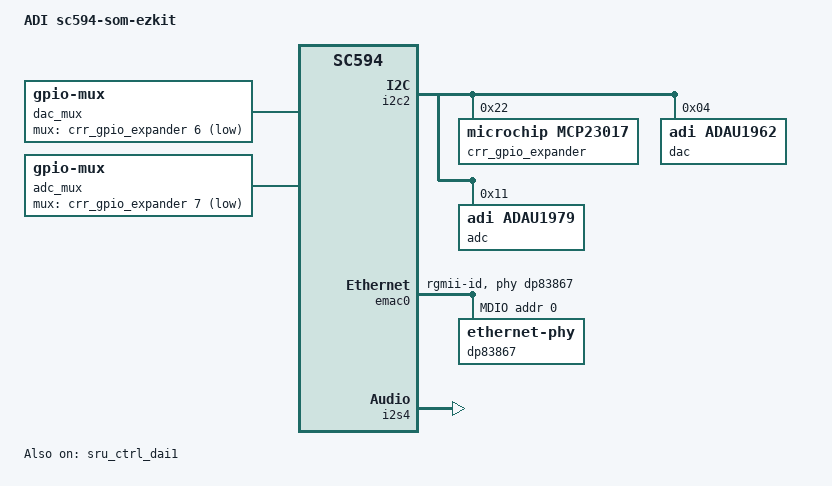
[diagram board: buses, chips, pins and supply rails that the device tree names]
/*
 * Device tree for ADI sc594-som-ezkit board
 *
 * Copyright 2014 - 2020 Analog Devices Inc.
 *
 * Licensed under the GPL-2 or later.
 *
 */

/dts-v1/;

#include "sc594-som.dtsi"

/ {
	model = "ADI sc594-som-ezkit";
	compatible = "adi,sc594-som-ezkit", "adi,sc59x";

	dac_mux: dac-mux-controller {
		compatible = "gpio-mux";
		#mux-state-cells = <1>;
		mux-gpios = <&crr_gpio_expander 6 GPIO_ACTIVE_LOW>;
		idle-state = <0>;
	};

	adc_mux: adc-mux-controller {
		compatible = "gpio-mux";
		#mux-state-cells = <1>;
		mux-gpios = <&crr_gpio_expander 7 GPIO_ACTIVE_LOW>;
		idle-state = <0>;
	};

	pinmux-dac {
		compatible = "pinctrl-multiplexer";

		dac_en_state: dac-grp {
			mux-states = <&dac_mux 1>;
		};
	};

	pinmux-adc {
		compatible = "pinctrl-multiplexer";

		adc_en_state: adc-grp {
			mux-states = <&adc_mux 1>;
		};
	};

	sound {
		compatible = "simple-audio-card";
		#address-cells = <1>;
		#size-cells = <0>;
		simple-audio-card,name = "sound";
		simple-audio-card,widgets =
			"Headphone", "HEADPHONES",
			"Line", "DAC1",
			"Line", "DAC2",
			"Line", "DAC3",
			"Line", "DAC4",
			"Line", "DAC5",
			"Line", "DAC6",
			"Line", "DAC7",
			"Line", "DAC8",
			"Line", "DAC9",
			"Line", "DAC10",
			"Line", "DAC11",
			"Line", "DAC12",
			"Line", "AN1",
			"Line", "AN2",
			"Line", "AN3",
			"Line", "AN4";
		simple-audio-card,routing =
			"HEADPHONES", "DAC AOUT1",
			"HEADPHONES", "DAC AOUT2",
			"DAC1", "DAC AOUT1",
			"DAC2", "DAC AOUT2",
			"DAC3", "DAC AOUT3",
			"DAC4", "DAC AOUT4",
			"DAC5", "DAC AOUT5",
			"DAC6", "DAC AOUT6",
			"DAC7", "DAC AOUT7",
			"DAC8", "DAC AOUT8",
			"DAC9", "DAC AOUT9",
			"DAC10", "DAC AOUT10",
			"DAC11", "DAC AOUT11",
			"DAC12", "DAC AOUT12",
			"ADC AIN1", "AN1",
			"ADC AIN2", "AN2",
			"ADC AIN3", "AN3",
			"ADC AIN4", "AN4";

		simple-audio-card,dai-link@0 {
			reg = <0>;
			format = "dsp_a";
			bitclock-master = <&sound_codec0>;
			frame-master = <&sound_codec0>;

			cpu {
				sound-dai = <&i2s4 0>;
				dai-tdm-slot-num = <16>;
				dai-tdm-slot-width = <32>;
				dai-tdm-slot-tx-mask = <1 1 1 1 1 1 1 1
							1 1 1 1 0 0 0 0>;
			};

			sound_codec0: codec {
				sound-dai = <&dac>;
				clocks = <&audio_clk>;
				dai-tdm-slot-num = <16>;
				dai-tdm-slot-width = <32>;
				dai-tdm-slot-rx-mask = <1 1 1 1 1 1 1 1
							1 1 1 1 0 0 0 0>;
			};
		};

		simple-audio-card,dai-link@1 {
			reg = <1>;
			format = "dsp_a";
			bitclock-master = <&sound_codec1>;
			frame-master = <&sound_codec1>;

			cpu {
				sound-dai = <&i2s4 1>;
				dai-tdm-slot-num = <4>;
				dai-tdm-slot-width = <32>;
				dai-tdm-slot-rx-mask = <1 1 1 1>;
			};

			sound_codec1: codec {
				sound-dai = <&adc>;
				system-clock-frequency = <24576000>;
				dai-tdm-slot-num = <4>;
				dai-tdm-slot-width = <32>;
				/* adau1979 driver erroneously uses rx mask */
				dai-tdm-slot-rx-mask = <1 1 1 1>;
			};
		};
	};
};

&i2c2 {
	crr_gpio_expander: gpio@22 {
		compatible = "microchip,mcp23017";
		gpio-controller;
		#gpio-cells = <2>;
		reg = <0x22>;

		eeprom {
			gpio-hog;
			gpios = <0 GPIO_ACTIVE_LOW>;
			output-low;
			line-name = "eeprom-en";
		};

		pushbutton {
			gpio-hog;
			gpios = <1 GPIO_ACTIVE_LOW>;
			output-low; /*output-high;*/
			line-name = "pushbutton-en";
		};

		microsd {
			gpio-hog;
			gpios = <2 GPIO_ACTIVE_LOW>;
			output-low;
			line-name = "microsd-spi";
		};

		octal {
			gpio-hog;
			gpios = <8 GPIO_ACTIVE_LOW>;
			output-low;
			line-name = "octal-spi-cs-en";
		};

		spdif-dig {
			gpio-hog;
			gpios = <9 GPIO_ACTIVE_LOW>;
			output-low;
			line-name = "spdif-digital-en";
		};

		spdif-opt {
			gpio-hog;
			gpios = <10 GPIO_ACTIVE_LOW>;
			output-low;
			line-name = "spdif-optical-en";
		};

		mlb {
			gpio-hog;
			gpios = <12 GPIO_ACTIVE_LOW>;
			output-low;
			line-name = "mlb-en";
		};

		eth1 {
			gpio-hog;
			gpios = <13 GPIO_ACTIVE_LOW>;
			output-high;
			line-name = "eth1-en";
		};

		eth1-reset {
			gpio-hog;
			gpios = <14 GPIO_ACTIVE_LOW>;
/* USB0 lines are shared with Eth1 so  Eth PHY must be held in reset
   when using the USB */
			output-high;
			line-name = "eth1-reset";
		};

		gige-reset {
			gpio-hog;
			gpios = <15 GPIO_ACTIVE_HIGH>;
			output-high;
			line-name = "gige-reset";
		};
	};

	dac: audio-codec@4 {
		compatible = "adi,adau1962";
		reg = <0x4>;
		pinctrl-names = "default";
		pinctrl-0 = <&dac_en_state>;
		#sound-dai-cells = <0>;
		sound-name-prefix = "DAC";
	};

	adc: audio-codec@11 {
		compatible = "adi,adau1979";
		reg = <0x11>;
		pinctrl-names = "default";
		pinctrl-0 = <&adc_en_state>;
		#sound-dai-cells = <0>;
		sound-name-prefix = "ADC";
	};
};

&can0 {
	pinctrl-names = "default";
	/*pinctrl-0 = <&can0_default>;*/
	phy-name = "tja1055";
	phy-gpios = <&gpb 8 0>,		/* en PB8 */
		    <&gpb 2 0x1>;	/* stb PB2, GPIO_ACTIVE_LOW */
	status = "disabled";
};

&can1 {
	pinctrl-names = "default";
	/*pinctrl-0 = <&can1_default>;*/
	phy-name = "tja1145";
	phy-spibus = /bits/ 16 <0>;
	phy-spiclk = <1000000>;
	phy-spics = /bits/ 16 <44>;	/* GPIO_PC12 */
	status = "disabled";
};

&emac0 {
	snps,reset-active-low;
	snps,reset-delays-us = <0 200 500>;
	phy-handle = <&dp83867>;
	phy-mode = "rgmii-id";
	pinctrl-names = "default";
	pinctrl-0 = <&eth0_default>;
	status = "okay";

	mdio0 {
		compatible = "snps,dwmac-mdio";
		#address-cells = <1>;
		#size-cells = <0>;
		dp83867: ethernet-phy@0 {
			reg = <0>;
			ti,rx-internal-delay = <DP83867_RGMIIDCTL_2_00_NS>;
			ti,tx-internal-delay = <DP83867_RGMIIDCTL_2_00_NS>;
			ti,fifo-depth = <DP83867_PHYCR_FIFO_DEPTH_8_B_NIB>;
			ti,dp83867-rxctrl-strap-quirk;
		};
	};
};

&emac1 {
	phy-handle = <&dp83848>;
	phy-mode = "rmii";
	pinctrl-names = "default";
	pinctrl-0 = <&eth1_default>;
	status = "disabled";

	mdio1 {
		compatible = "snps,dwmac-mdio";
		#address-cells = <1>;
		#size-cells = <0>;
		dp83848: ethernet-phy@1 {
			reg = <1>;
		};
	};
};

&i2s4 {
	pinctrl-names = "default";
	pinctrl-0 = <&sru_dai1>;
	sound-name-prefix = "SPORT4";

	status = "okay";
};

&sru_ctrl_dai1 {
	status = "okay";

	sru_dai1: sru_dai1_mux {
		route {
			sru-routing =
				<DAI1_LOW_F          DAI1_PBEN05_I>,  /* set DAI1_PIN0B to input */
				<DAI1_PB05_O_ABCDE   SPT4_ACLK_I>,    /* route DAI1_PIN0B to SPT4_ACLK */
				<DAI1_LOW_F          DAI1_PBEN04_I>,  /* set DAI1_PIN04 to input */
				<DAI1_PB04_O_ABCDE   SPT4_AFS_I>,     /* route DAI1_PIN04 to SPT4_AFS */
				<DAI1_HIGH_F         DAI1_PBEN01_I>,  /* set DAI1_PIN01 to output */
				<SPT4_AD0_O_BD       DAI1_PB01_I>,    /* route SPT4_AD0 to DAI1_PIN01 */
				<DAI1_LOW_F          DAI1_PBEN12_I>,  /* set DAI1_PIN12 to input */
				<DAI1_PB12_O_ABCDE   SPT4_BCLK_I>,    /* route DAI1_PIN12 to SPT4_BCLK */
				<DAI1_LOW_F          DAI1_PBEN20_I>,  /* set DAI1_PIN20 to input */
				<DAI1_PB20_O_ABCDE   SPT4_BFS_I>,     /* route DAI1_PIN20 to SPT4_BFS */
				<DAI1_LOW_F          DAI1_PBEN06_I>,  /* set DAI1_PIN06 to input */
				<DAI1_PB06_O_ABCDE   SPT4_BD0_I>;     /* route DAI1_PIN06 to SPT4_BD0 */
		};
	};
};

&gpa {
	gpio-line-names =
		"", "", "", "", "", "", "", "",
		"", "", "", "", "", "boot-trace";
};
